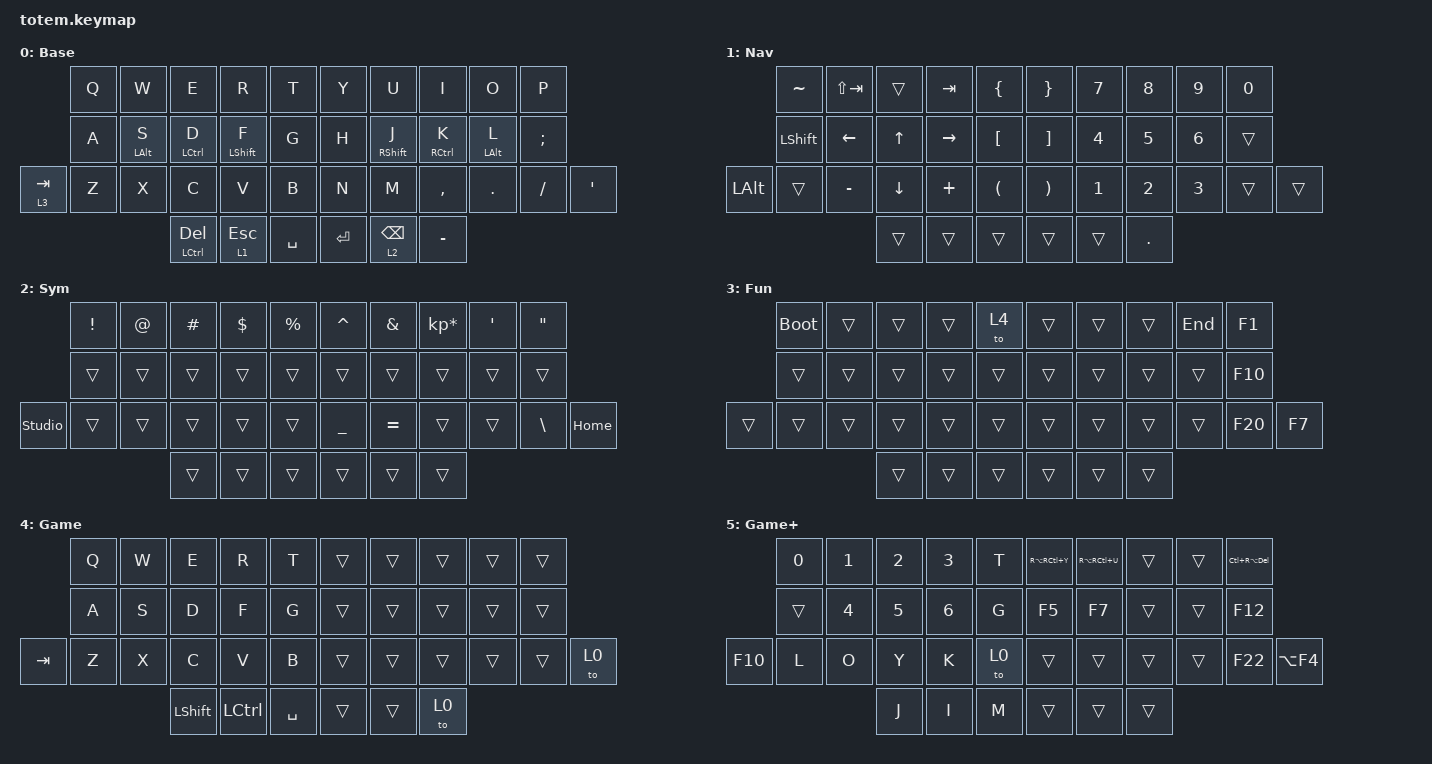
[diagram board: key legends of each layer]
//
//                                                        ▀▀▀▀▀     ▀▀▀▀▀          ▀▀█▀▀
//                                                        ▄▀▀▀▄  ▄  ▄▀▀▀▄  ▄  ▄▀▀▀▄  █  ▄▀▀▀▄
//                                                        █   █  █  █   █  █  █   █  █  █   █
//                                                         ▀▀▀   █   ▀▀▀   █   ▀▀▀   ▀   ▀▀▀
//                                                               █      ▄▄▄█▄▄▄    █   █  
//                                                               ▀      █  █  █     █▄█
//                                                             ▀▀▀▀▀    █  █  █      ▀
//                                                                      ▀  ▀  ▀
//
// ▄▄▄▄▄▄▄▄▄▄▄▄▄▄▄▄▄▄▄▄▄▄▄▄▄▄▄▄▄▄▄▄▄▄▄▄▄▄▄▄▄▄▄▄▄▄▄▄▄▄▄▄▄▄▄▄▄▄▄▄▄▄▄▄▄▄▄▄▄▄▄▄▄▄▄▄▄▄▄▄▄▄▄▄▄▄▄▄▄▄▄▄▄▄▄▄▄▄▄▄▄▄▄▄▄▄▄▄▄▄▄▄▄▄▄▄▄▄▄▄▄▄▄▄▄▄▄▄▄▄▄▄▄▄▄▄▄▄▄▄▄▄▄▄▄▄▄▄▄

#include <behaviors.dtsi>
#include <dt-bindings/zmk/keys.h>

#define Base        0
#define Nav         1
#define Sym         2
#define Fun         3
#define Game        4
#define Gameplus    5

&mt {
    quick-tap-ms = <100>;
    global-quick-tap;
    flavor = "tap-preferred";
    tapping-term-ms = <170>;
};

&lt {
    tapping-term-ms = <240>;
    flavor = "balanced";
    quick-tap-ms = <150>;
};

/ {
    behaviors {
        hm: homerow_mods {
            compatible = "zmk,behavior-hold-tap";
            label = "HOMEROW_MODS";
            #binding-cells = <2>;
            flavor = "tap-preferred";
            tapping-term-ms = <200>;
            quick-tap-ms = <125>;
            global-quick-tap;
            bindings = <&kp>, <&kp>;
        };
    };

    combos {
        compatible = "zmk,combos";

        esc {
            bindings = <&kp ESCAPE>;
            key-positions = <20 1>;
        };
    };

    keymap {
        compatible = "zmk,keymap";

        Base {
            display-name = "Base";
            bindings = <
           &kp Q  &kp W       &kp E          &kp R         &kp T        &kp Y    &kp U        &kp I        &kp O           &kp P
           &kp A  &hm LALT S  &hm LCTRL D    &hm LSHIFT F  &kp G        &kp H    &hm RSHFT J  &hm RCTRL K  &hm LEFT_ALT L  &kp SEMICOLON
&lt 3 TAB  &kp Z  &kp X       &kp C          &kp V         &kp B        &kp N    &kp M        &kp COMMA    &kp DOT         &kp SLASH      &kp APOSTROPHE
                              &mt LCTRL DEL  &lt 1 ESC     &kp SPACE    &kp RET  &lt 2 BSPC   &kp MINUS
            >;
        };

        Nav {
            display-name = "Nav";
            bindings = <
              &kp TILDE       &kp LS(TAB)  &trans        &kp TAB    &kp LBRC    &kp RBRC  &kp NUMBER_7  &kp NUMBER_8  &kp NUMBER_9  &kp NUMBER_0
              &kp LEFT_SHIFT  &kp LEFT     &kp UP_ARROW  &kp RIGHT  &kp LBKT    &kp RBKT  &kp NUMBER_4  &kp NUMBER_5  &kp NUMBER_6  &trans
&kp LEFT_ALT  &trans          &kp MINUS    &kp DOWN      &kp PLUS   &kp LPAR    &kp RPAR  &kp NUMBER_1  &kp NUMBER_2  &kp NUMBER_3  &trans        &trans
                                           &trans        &trans     &trans      &trans    &trans        &kp DOT
            >;
        };

        Sym {
            display-name = "Sym";
            bindings = <
                &kp EXCL  &kp AT  &kp HASH  &kp DOLLAR  &kp PERCENT    &kp CARET  &kp AMPERSAND  &kp KP_ASTERISK  &kp SQT  &kp DQT
                &trans    &trans  &trans    &trans      &trans         &trans     &trans         &trans           &trans   &trans
&studio_unlock  &trans    &trans  &trans    &trans      &trans         &kp UNDER  &kp EQUAL      &trans           &trans   &kp BACKSLASH  &kp HOME
                                  &trans    &trans      &trans         &trans     &trans         &trans
            >;
        };

        Fun {
            display-name = "Fun";
            bindings = <
        &bootloader  &trans  &trans  &trans  &to 4     &trans  &trans  &trans  &kp END  &kp F1
        &trans       &trans  &trans  &trans  &trans    &trans  &trans  &trans  &trans   &kp F10
&trans  &trans       &trans  &trans  &trans  &trans    &trans  &trans  &trans  &trans   &kp F20  &kp F7
                             &trans  &trans  &trans    &trans  &trans  &trans
            >;
        };

        Gaming {
            display-name = "Game";
            bindings = <
         &kp Q  &kp W  &kp E           &kp R             &kp T        &trans  &trans  &trans  &trans  &trans
         &kp A  &kp S  &kp D           &kp F             &kp G        &trans  &trans  &trans  &trans  &trans
&kp TAB  &kp Z  &kp X  &kp C           &kp V             &kp B        &trans  &trans  &trans  &trans  &trans  &to 0
                       &kp LEFT_SHIFT  &kp LEFT_CONTROL  &kp SPACE    &trans  &trans  &to 0
            >;
        };

        Gaming+ {
            display-name = "Game+";
            bindings = <
         &kp N0  &kp NUMBER_1  &kp NUMBER_2  &kp NUMBER_3  &kp T    &kp RA(RC(Y))  &kp RA(RC(U))  &trans  &trans  &kp LC(RA(DEL))
         &trans  &kp NUMBER_4  &kp N5        &kp NUMBER_6  &kp G    &kp F5         &kp F7         &trans  &trans  &kp F12
&kp F10  &kp L   &kp O         &kp Y         &kp K         &to 0    &trans         &trans         &trans  &trans  &kp F22          &kp LA(F4)
                               &kp J         &kp I         &kp M    &trans         &trans         &trans
            >;
        };
    };
};
